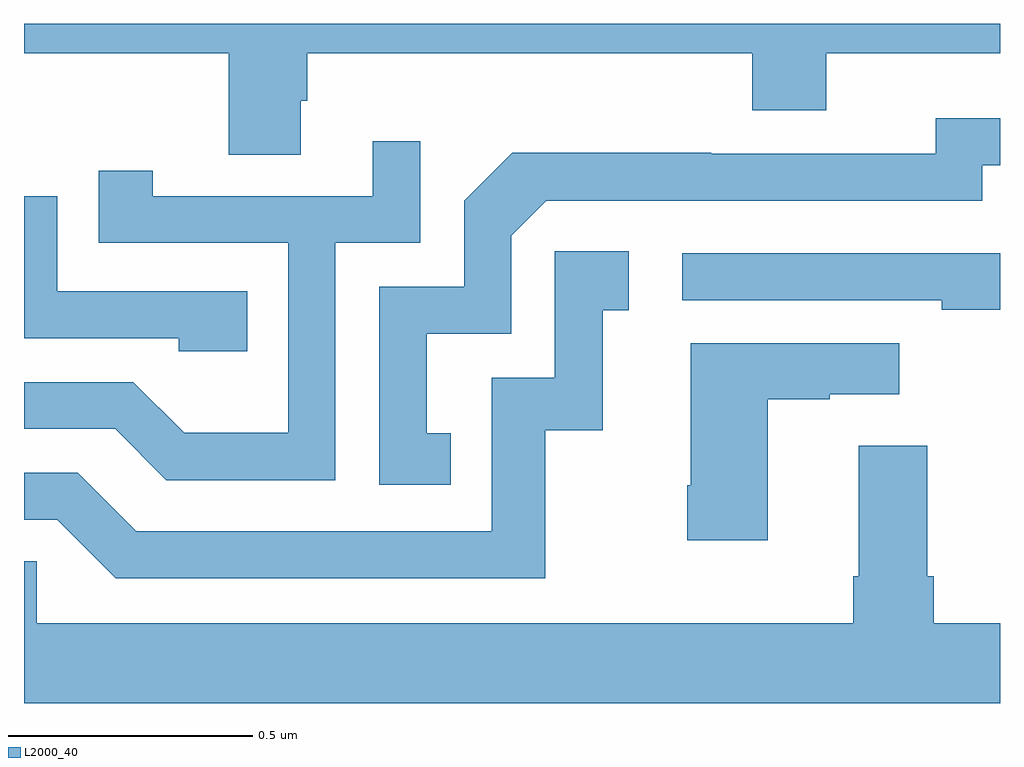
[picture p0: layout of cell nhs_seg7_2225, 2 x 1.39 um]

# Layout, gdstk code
import gdstk
lib = gdstk.Library(unit=1e-6, precision=1e-09)
def P(c, l, *ps):  # polygons
    for p in ps: c.add(gdstk.Polygon(p, *l))
L2000_40 = (2000, 40)

nhs_seg7_2225 = lib.new_cell('nhs_seg7_2225')
P(nhs_seg7_2225, L2000_40, [(142.567,1009.842),(142.58,1009.842),(142.58,1009.94),(143.492,1009.94),(143.492,1009.823),(143.644,1009.823),(143.644,1009.94),(144,1009.94),(144,1010),(142,1010),(142,1009.94),(142.42,1009.94),(142.42,1009.732),(142.567,1009.732)],
  [(142.874,1009.161),(142.825,1009.161),(142.825,1009.365),(142.998,1009.365),(142.998,1009.566),(143.07,1009.638),(143.964,1009.638),(143.964,1009.71),(144,1009.71),(144,1009.807),(143.868,1009.807),(143.868,1009.734),(143.408,1009.734),(143.408,1009.736),(143,1009.736),(142.902,1009.638),(142.902,1009.461),(142.728,1009.461),(142.728,1009.056),(142.874,1009.056)],
  [(142.638,1009.551),(142.812,1009.551),(142.812,1009.759),(142.715,1009.759),(142.715,1009.647),(142.264,1009.647),(142.264,1009.699),(142.153,1009.699),(142.153,1009.551),(142.542,1009.551),(142.542,1009.162),(142.328,1009.162),(142.224,1009.266),(142,1009.266),(142,1009.17),(142.187,1009.17),(142.292,1009.065),(142.638,1009.065)],
  [(142.457,1009.452),(142.068,1009.452),(142.068,1009.647),(142,1009.647),(142,1009.356),(142.317,1009.356),(142.317,1009.329),(142.457,1009.329)],
  [(143.068,1009.167),(143.186,1009.167),(143.186,1009.413),(143.239,1009.413),(143.239,1009.534),(143.088,1009.534),(143.088,1009.275),(142.959,1009.275),(142.959,1008.96),(142.23,1008.96),(142.11,1009.08),(142,1009.08),(142,1008.984),(142.068,1008.984),(142.188,1008.864),(143.068,1008.864)],
  [(144,1009.53),(143.349,1009.53),(143.349,1009.434),(143.881,1009.434),(143.881,1009.414),(144,1009.414)],
  [(143.524,1009.231),(143.651,1009.231),(143.651,1009.241),(143.794,1009.241),(143.794,1009.345),(143.366,1009.345),(143.366,1009.054),(143.359,1009.054),(143.359,1008.942),(143.524,1008.942)],
  [(144,1008.772),(143.864,1008.772),(143.864,1008.868),(143.851,1008.868),(143.851,1009.135),(143.711,1009.135),(143.711,1008.868),(143.699,1008.868),(143.699,1008.772),(142.026,1008.772),(142.026,1008.899),(142,1008.899),(142,1008.608),(144,1008.608)])

lib.write_gds('nhs_seg7_2225.gds')
